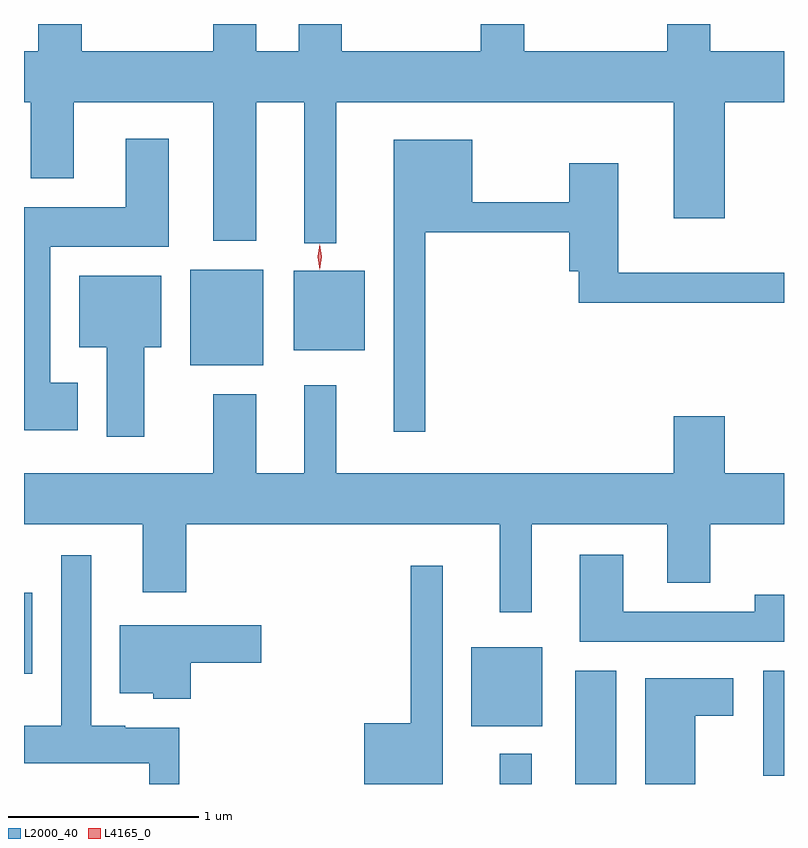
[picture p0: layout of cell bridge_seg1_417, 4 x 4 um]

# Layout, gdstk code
import gdstk
lib = gdstk.Library(unit=1e-6, precision=1e-09)
def R(c, l, rs):  # rectangles x0, y0, x1, y1
    for r in rs: c.add(gdstk.rectangle(r[:2], r[2:], *l))
def P(c, l, *ps):  # polygons
    for p in ps: c.add(gdstk.Polygon(p, *l))
L2000_40 = (2000, 40)
L4165_0 = (4165, 0)

bridge_seg1_417 = lib.new_cell('bridge_seg1_417')
R(bridge_seg1_417, L2000_40, [(334.041,938.168,334.209,938.328), (334.436,938.168,334.654,938.764), (335.426,938.211,335.536,938.764), (333.891,938.471,334.264,938.889), (331.536,938.748,331.579,939.174), (332.411,940.371,332.794,940.874), (332.956,940.451,333.329,940.869)])
P(bridge_seg1_417, L2000_40, [(333.179,941.756),(334.956,941.756),(334.956,941.146),(335.224,941.146),(335.224,941.756),(335.536,941.756),(335.536,942.024),(335.149,942.024),(335.149,942.168),(334.921,942.168),(334.921,942.024),(334.169,942.024),(334.169,942.168),(333.941,942.168),(333.941,942.024),(333.209,942.024),(333.209,942.168),(332.981,942.168),(332.981,942.024),(332.759,942.024),(332.759,942.168),(332.531,942.168),(332.531,942.024),(331.839,942.024),(331.839,942.168),(331.611,942.168),(331.611,942.024),(331.536,942.024),(331.536,941.756),(331.571,941.756),(331.571,941.356),(331.799,941.356),(331.799,941.756),(332.531,941.756),(332.531,941.026),(332.759,941.026),(332.759,941.756),(333.011,941.756),(333.011,941.013),(333.179,941.013)],
  [(331.819,940.279),(331.674,940.279),(331.674,940.996),(332.299,940.996),(332.299,941.564),(332.071,941.564),(332.071,941.204),(331.536,941.204),(331.536,940.031),(331.819,940.031)],
  [(333.649,941.071),(334.406,941.071),(334.406,940.866),(334.456,940.866),(334.456,940.701),(335.536,940.701),(335.536,940.859),(334.664,940.859),(334.664,941.434),(334.406,941.434),(334.406,941.229),(333.894,941.229),(333.894,941.559),(333.481,941.559),(333.481,940.023),(333.649,940.023)],
  [(332.169,940.466),(332.259,940.466),(332.259,940.844),(331.826,940.844),(331.826,940.466),(331.971,940.466),(331.971,939.996),(332.169,939.996)],
  [(334.209,939.536),(334.921,939.536),(334.921,939.226),(335.149,939.226),(335.149,939.536),(335.536,939.536),(335.536,939.804),(335.224,939.804),(335.224,940.104),(334.956,940.104),(334.956,939.804),(333.179,939.804),(333.179,940.268),(333.011,940.268),(333.011,939.804),(332.759,939.804),(332.759,940.219),(332.531,940.219),(332.531,939.804),(331.536,939.804),(331.536,939.536),(332.161,939.536),(332.161,939.176),(332.389,939.176),(332.389,939.536),(334.041,939.536),(334.041,939.073),(334.209,939.073)],
  [(335.536,939.164),(335.381,939.164),(335.381,939.074),(334.689,939.074),(334.689,939.374),(334.461,939.374),(334.461,938.916),(335.536,938.916)],
  [(332.354,938.464),(332.07,938.464),(332.07,938.474),(331.889,938.474),(331.889,939.373),(331.731,939.373),(331.731,938.474),(331.536,938.474),(331.536,938.276),(332.196,938.276),(332.196,938.168),(332.354,938.168)],
  [(333.739,939.318),(333.571,939.318),(333.571,938.489),(333.326,938.489),(333.326,938.168),(333.739,938.168)],
  [(332.414,938.806),(332.784,938.806),(332.784,939.004),(332.041,939.004),(332.041,938.646),(332.216,938.646),(332.216,938.616),(332.414,938.616)],
  [(335.069,938.526),(335.269,938.526),(335.269,938.724),(334.806,938.724),(334.806,938.168),(335.069,938.168)])
P(bridge_seg1_417, L4165_0, [(333.092,940.878),(333.083,940.942),(333.092,941.007),(333.093,941.007),(333.093,941.007),(333.103,940.942),(333.093,940.878),(333.093,940.878)],
  [(333.092,940.874),(333.083,940.942),(333.092,941.01),(333.093,941.01),(333.093,941.01),(333.103,940.942),(333.093,940.874),(333.093,940.874)])

lib.write_gds('bridge_seg1_417.gds')
